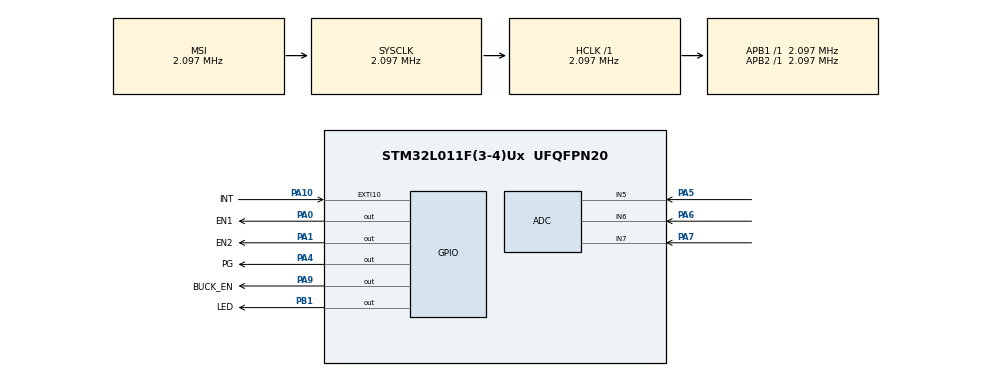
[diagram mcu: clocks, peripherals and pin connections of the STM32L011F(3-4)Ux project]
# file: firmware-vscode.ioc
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ADC.ClockPrescaler=ADC_CLOCK_SYNC_PCLK_DIV1
ADC.ContinuousConvMode=ENABLE
ADC.SamplingTime=ADC_SAMPLETIME_160CYCLES_5
Mcu.Family=STM32L0
Mcu.Name=STM32L011F(3-4)Ux
Mcu.Package=UFQFPN20
NVIC.EXTI4_15_IRQn=true\:0\:0\:false\:false\:true\:true\:true\:true
PA0-CK_IN.GPIO_Label=EN1
PA0-CK_IN.Signal=GPIO_Output
PA1.GPIO_Label=EN2
PA1.Signal=GPIO_Output
PA10.GPIO_Label=INT
PA10.Signal=GPXTI10
PA4.GPIO_Label=PG
PA4.Signal=GPIO_Output
PA5.Mode=IN5
PA5.Signal=ADC_IN5
PA6.Mode=IN6
PA6.Signal=ADC_IN6
PA7.Mode=IN7
PA7.Signal=ADC_IN7
PA9.GPIO_Label=BUCK_EN
PA9.Signal=GPIO_Output
PB1.GPIO_Label=LED
PB1.Signal=GPIO_Output
ProjectManager.HeapSize=0x200
ProjectManager.StackSize=0x400
ProjectManager.TargetToolchain=Makefile
RCC.AHBFreq_Value=2097000
RCC.APB1Freq_Value=2097000
RCC.APB1TimFreq_Value=2097000
RCC.APB2Freq_Value=2097000
RCC.APB2TimFreq_Value=2097000
RCC.HSE_VALUE=8000000
RCC.HSI16_VALUE=16000000
RCC.HSI_VALUE=16000000
RCC.LSE_VALUE=32768
RCC.MSI_VALUE=2097000
RCC.SYSCLKFreq_VALUE=2097000
RCC.VCOOutputFreq_Value=48000000
VP_ADC_Vref_Input.Mode=IN-Vrefint
board=custom

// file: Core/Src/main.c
/* USER CODE BEGIN Header */
/**
  ******************************************************************************
  * @file           : main.c
  * @brief          : Main program body
  ******************************************************************************
  * @attention
  *
  * Copyright (c) 2023 STMicroelectronics.
  * All rights reserved.
  *
  * This software is licensed under terms that can be found in the LICENSE file
  * in the root directory of this software component.
  * If no LICENSE file comes with this software, it is provided AS-IS.
  *
  ******************************************************************************
  */
/* USER CODE END Header */
#include "main.h"

/* USER CODE BEGIN PD */

#define VREFINT_CAL_ADDR          ((uint16_t*) ((uint32_t) 0x1FF80078))
#define MIN_VOLTAGE               5000
#define MAX_VOLTAGE               22000
#define MIN_CURRENT               200
#define SLEEP_VOLTAGE             1000
#define CHARGE_VOLTAGE_THESHOLD   2600

/* USER CODE END PD */

ADC_HandleTypeDef hadc;

void SystemClock_Config(void);
static void MX_GPIO_Init(void);
static void MX_ADC_Init(void);
/* USER CODE BEGIN PFP */

// *** Load switch functions *** //
void load_switch_enable(void);
void load_switch_disable(void);

// *** Blocking led functions ***//
void led_blink(uint16_t time_delay_1, uint16_t time_delay_2);

// *** SAFELY ENABLE/DISABLE BUCK CONVERTER *** //
void Enable_buck_converter(void);
void Disable_buck_converter(void);

/* USER CODE END PFP */

/* USER CODE BEGIN 0 */

  uint16_t ADC_CH5, ADC_CH6, ADC_CH7, ADC_REF;
  uint16_t supply_voltage_mv = 0;
  uint16_t input_voltage_mv = 0;
  uint16_t buck_output_voltage_mv = 0;
  uint16_t buck_current_ma = 0;
  uint8_t previous_state = 0;
  uint16_t timer_check = 0;

  // State machine
  typedef enum {INIT, START_CHARGING, CHARGING, STOP_CHARGING, OVER_VOLTAGE, SLEEP} State_type;
  State_type current_state = INIT;

/* USER CODE END 0 */

int main(void)
{

  /* MCU Configuration--------------------------------------------------------*/

  /* Reset of all peripherals, Initializes the Flash interface and the Systick. */
  HAL_Init();

  /* USER CODE BEGIN Init */
  // reference = VREFINT_CAL_ADDR;

  /* USER CODE END Init */

  /* Configure the system clock */
  SystemClock_Config();

  /* Initialize all configured peripherals */
  MX_GPIO_Init();
  MX_ADC_Init();
  /* USER CODE BEGIN 2 */

  HAL_ADCEx_Calibration_Start(&hadc, ADC_SINGLE_ENDED);

  /* USER CODE END 2 */

  /* Infinite loop */
  while (1)
  {

    /* USER CODE BEGIN 3 */

    // Start ADC Conversion and read two ADC values
		HAL_ADC_Start(&hadc);

    // ADC_CHANNEL_5 & Read The ADC Conversion Result
    HAL_ADC_PollForConversion(&hadc, 100);
		ADC_CH5 = HAL_ADC_GetValue(&hadc);

    // ADC_CHANNEL_6 & Read The ADC Conversion Result
    HAL_ADC_PollForConversion(&hadc, 100);
		ADC_CH6 = HAL_ADC_GetValue(&hadc);

    // ADC_CHANNEL_7 & Read The ADC Conversion Result
    HAL_ADC_PollForConversion(&hadc, 100);
		ADC_CH7 = HAL_ADC_GetValue(&hadc);

    // ADC_CHANNEL_VREFINT & Read The ADC Conversion Result
    HAL_ADC_PollForConversion(&hadc, 100);
		ADC_REF = HAL_ADC_GetValue(&hadc);

    // Stop ADC Conversion
    HAL_ADC_Stop(&hadc);

    // Calculate supply voltage MCU
    supply_voltage_mv = 1200*4096/ADC_REF;

    // Calculate input voltage BUCK converter
    input_voltage_mv = ADC_CH5*supply_voltage_mv/4096*224700/4700;

    // Calculate buck converter output voltage
    buck_output_voltage_mv = ADC_CH7*supply_voltage_mv/4096*71000/15000;

    // Calculate buck converter output current
    buck_current_ma = ADC_CH6*supply_voltage_mv/4096*1000/780;

    if(input_voltage_mv > MAX_VOLTAGE){
      current_state = OVER_VOLTAGE;
    }

    ///////////////////////////
    // *** State machine *** //
    ///////////////////////////

    switch (current_state){
      case INIT:
        // No charging may occur in the INIT phase
        Disable_buck_converter();

        // Check input voltage before start charging
        if(input_voltage_mv < MAX_VOLTAGE && input_voltage_mv > MIN_VOLTAGE){
          current_state = START_CHARGING;
        }

        // Check input voltage in not below minimum voltage
        if(input_voltage_mv < SLEEP_VOLTAGE){
          current_state = SLEEP;
        }

        // Blink led
        led_blink(500, 500);
      break;
      case START_CHARGING:
        // Enable buck conveter safely
        Enable_buck_converter();

        // Change state
        current_state = CHARGING;
      break;
      case CHARGING:
        led_blink(900, 100);

        // If under voltage occur, wait for enough voltage to resume
        if(input_voltage_mv < MIN_VOLTAGE){
          current_state = INIT;
        }

        // Check for current lower then MIN_CURRENT after 10 sec
        if(buck_current_ma < MIN_CURRENT && timer_check > 10 && supply_voltage_mv > CHARGE_VOLTAGE_THESHOLD){
          timer_check = 0;
          current_state = STOP_CHARGING;
        }

        timer_check++;

      break;
      case STOP_CHARGING:
        // Disable buck conveter safely
        Disable_buck_converter();

        if(buck_current_ma < MIN_CURRENT){
          current_state = SLEEP;
        }
        else{
          current_state = INIT;
        }
      break;
      case OVER_VOLTAGE:
        led_blink(100, 100);

        // Disable buck conveter safely
        Disable_buck_converter();

        // Check for save voltage
        if(input_voltage_mv < MAX_VOLTAGE){
          current_state = INIT;
        }
      break;
      case SLEEP:

        // Disable LED
        HAL_GPIO_WritePin(LED_GPIO_Port, LED_Pin, GPIO_PIN_RESET);

        // Check if input voltage is above 2 V and enable timer interrupt

        // Reconfigure GPIO pins for sleep mode: EN1_Pin EN2_Pin PG_Pin BUCK_EN_Pin
        // GPIO_InitTypeDef GPIO_InitStruct;
        // GPIO_InitStruct.Pin = EN1_Pin|EN2_Pin|PG_Pin|BUCK_EN_Pin;
        // GPIO_InitStruct.Mode = GPIO_MODE_ANALOG;
        // GPIO_InitStruct.Pull = GPIO_NOPULL;
        // HAL_GPIO_Init(GPIOA, &GPIO_InitStruct);

        // Disable the systick interrupt
        HAL_SuspendTick();

        // Enter Stop Mode
        HAL_PWR_EnterSTOPMode(PWR_LOWPOWERREGULATOR_ON, PWR_STOPENTRY_WFI);

        // Change state
        current_state = INIT;

      break;
      default:
      current_state = INIT;
      break;
    }

  }
  /* USER CODE END 3 */
}

void SystemClock_Config(void)
{
  RCC_OscInitTypeDef RCC_OscInitStruct = {0};
  RCC_ClkInitTypeDef RCC_ClkInitStruct = {0};

  /** Configure the main internal regulator output voltage
  */
  __HAL_PWR_VOLTAGESCALING_CONFIG(PWR_REGULATOR_VOLTAGE_SCALE1);

  /** Initializes the RCC Oscillators according to the specified parameters
  * in the RCC_OscInitTypeDef structure.
  */
  RCC_OscInitStruct.OscillatorType = RCC_OSCILLATORTYPE_MSI;
  RCC_OscInitStruct.MSIState = RCC_MSI_ON;
  RCC_OscInitStruct.MSICalibrationValue = 0;
  RCC_OscInitStruct.MSIClockRange = RCC_MSIRANGE_5;
  RCC_OscInitStruct.PLL.PLLState = RCC_PLL_NONE;
  if (HAL_RCC_OscConfig(&RCC_OscInitStruct) != HAL_OK)
  {
    Error_Handler();
  }

  /** Initializes the CPU, AHB and APB buses clocks
  */
  RCC_ClkInitStruct.ClockType = RCC_CLOCKTYPE_HCLK|RCC_CLOCKTYPE_SYSCLK
                              |RCC_CLOCKTYPE_PCLK1|RCC_CLOCKTYPE_PCLK2;
  RCC_ClkInitStruct.SYSCLKSource = RCC_SYSCLKSOURCE_MSI;
  RCC_ClkInitStruct.AHBCLKDivider = RCC_SYSCLK_DIV1;
  RCC_ClkInitStruct.APB1CLKDivider = RCC_HCLK_DIV1;
  RCC_ClkInitStruct.APB2CLKDivider = RCC_HCLK_DIV1;

  if (HAL_RCC_ClockConfig(&RCC_ClkInitStruct, FLASH_LATENCY_0) != HAL_OK)
  {
    Error_Handler();
  }
}

static void MX_ADC_Init(void)
{

  ADC_ChannelConfTypeDef sConfig = {0};

  /** Configure the global features of the ADC (Clock, Resolution, Data Alignment and number of conversion)
  */
  hadc.Instance = ADC1;
  hadc.Init.OversamplingMode = DISABLE;
  hadc.Init.ClockPrescaler = ADC_CLOCK_SYNC_PCLK_DIV1;
  hadc.Init.Resolution = ADC_RESOLUTION_12B;
  hadc.Init.SamplingTime = ADC_SAMPLETIME_160CYCLES_5;
  hadc.Init.ScanConvMode = ADC_SCAN_DIRECTION_FORWARD;
  hadc.Init.DataAlign = ADC_DATAALIGN_RIGHT;
  hadc.Init.ContinuousConvMode = ENABLE;
  hadc.Init.DiscontinuousConvMode = DISABLE;
  hadc.Init.ExternalTrigConvEdge = ADC_EXTERNALTRIGCONVEDGE_NONE;
  hadc.Init.ExternalTrigConv = ADC_SOFTWARE_START;
  hadc.Init.DMAContinuousRequests = DISABLE;
  hadc.Init.EOCSelection = ADC_EOC_SINGLE_CONV;
  hadc.Init.Overrun = ADC_OVR_DATA_PRESERVED;
  hadc.Init.LowPowerAutoWait = DISABLE;
  hadc.Init.LowPowerFrequencyMode = ENABLE;
  hadc.Init.LowPowerAutoPowerOff = DISABLE;
  if (HAL_ADC_Init(&hadc) != HAL_OK)
  {
    Error_Handler();
  }

  /** Configure for the selected ADC regular channel to be converted.
  */
  sConfig.Channel = ADC_CHANNEL_5;
  sConfig.Rank = ADC_RANK_CHANNEL_NUMBER;
  if (HAL_ADC_ConfigChannel(&hadc, &sConfig) != HAL_OK)
  {
    Error_Handler();
  }

  /** Configure for the selected ADC regular channel to be converted.
  */
  sConfig.Channel = ADC_CHANNEL_6;
  if (HAL_ADC_ConfigChannel(&hadc, &sConfig) != HAL_OK)
  {
    Error_Handler();
  }

  /** Configure for the selected ADC regular channel to be converted.
  */
  sConfig.Channel = ADC_CHANNEL_7;
  if (HAL_ADC_ConfigChannel(&hadc, &sConfig) != HAL_OK)
  {
    Error_Handler();
  }

  /** Configure for the selected ADC regular channel to be converted.
  */
  sConfig.Channel = ADC_CHANNEL_VREFINT;
  if (HAL_ADC_ConfigChannel(&hadc, &sConfig) != HAL_OK)
  {
    Error_Handler();
  }
  /* USER CODE BEGIN ADC_Init 2 */

  // *** DO not ferget to add "sConfig.Rank = ADC_RANK_CHANNEL_NUMBER;" if regenerating HAL drivers with STM32cubeMX !!! ***

  /* USER CODE END ADC_Init 2 */

}

static void MX_GPIO_Init(void)
{
  GPIO_InitTypeDef GPIO_InitStruct = {0};

  /* GPIO Ports Clock Enable */
  __HAL_RCC_GPIOA_CLK_ENABLE();
  __HAL_RCC_GPIOB_CLK_ENABLE();

  /*Configure GPIO pin Output Level */
  HAL_GPIO_WritePin(GPIOA, EN1_Pin|EN2_Pin|PG_Pin|BUCK_EN_Pin, GPIO_PIN_RESET);

  /*Configure GPIO pin Output Level */
  HAL_GPIO_WritePin(LED_GPIO_Port, LED_Pin, GPIO_PIN_RESET);

  /*Configure GPIO pins : EN1_Pin EN2_Pin PG_Pin BUCK_EN_Pin */
  GPIO_InitStruct.Pin = EN1_Pin|EN2_Pin|PG_Pin|BUCK_EN_Pin;
  GPIO_InitStruct.Mode = GPIO_MODE_OUTPUT_PP;
  GPIO_InitStruct.Pull = GPIO_NOPULL;
  GPIO_InitStruct.Speed = GPIO_SPEED_FREQ_LOW;
  HAL_GPIO_Init(GPIOA, &GPIO_InitStruct);

  /*Configure GPIO pin : LED_Pin */
  GPIO_InitStruct.Pin = LED_Pin;
  GPIO_InitStruct.Mode = GPIO_MODE_OUTPUT_PP;
  GPIO_InitStruct.Pull = GPIO_NOPULL;
  GPIO_InitStruct.Speed = GPIO_SPEED_FREQ_LOW;
  HAL_GPIO_Init(LED_GPIO_Port, &GPIO_InitStruct);

  /*Configure GPIO pin : INT_Pin */
  GPIO_InitStruct.Pin = INT_Pin;
  GPIO_InitStruct.Mode = GPIO_MODE_IT_RISING;
  GPIO_InitStruct.Pull = GPIO_NOPULL;
  HAL_GPIO_Init(INT_GPIO_Port, &GPIO_InitStruct);

  /* EXTI interrupt init*/
  HAL_NVIC_SetPriority(EXTI4_15_IRQn, 0, 0);
  HAL_NVIC_EnableIRQ(EXTI4_15_IRQn);

}

/* USER CODE BEGIN 4 */

// *** Load Switch functions *** //
// Enable load switch 1 and 2
void load_switch_enable(void){
  HAL_GPIO_WritePin(EN1_GPIO_Port, EN1_Pin, GPIO_PIN_SET);
  HAL_GPIO_WritePin(EN2_GPIO_Port, EN2_Pin, GPIO_PIN_SET);
}

// Disable load switch 1 and 2
void load_switch_disable(void){
  HAL_GPIO_WritePin(EN1_GPIO_Port, EN1_Pin, GPIO_PIN_RESET);
  HAL_GPIO_WritePin(EN2_GPIO_Port, EN2_Pin, GPIO_PIN_RESET);
}

void led_blink(uint16_t time_delay_1, uint16_t time_delay_2){
  HAL_GPIO_WritePin(LED_GPIO_Port, LED_Pin, GPIO_PIN_RESET);
  HAL_Delay(time_delay_1);
  HAL_GPIO_WritePin(LED_GPIO_Port, LED_Pin, GPIO_PIN_SET);
  HAL_Delay(time_delay_2);
}

// *** WAKE UP *** //
void HAL_GPIO_EXTI_Callback(uint16_t GPIO_Pin)
{
  //if(GPIO_Pin == INT_Pin)
  //{
	  SystemClock_Config();
	  HAL_ResumeTick();
  //}
}

// *** SAFELY ENABLE/DISABLE BUCK CONVERTER *** //
void Enable_buck_converter(void){
  // Enable load switches
  load_switch_enable();

  HAL_Delay(100);

  // Enable CC/CV buck converter
  HAL_GPIO_WritePin(BUCK_EN_GPIO_Port, BUCK_EN_Pin, GPIO_PIN_SET);

  // HAL_Delay(1000);

  // Connect input voltage to buck converter
  HAL_GPIO_WritePin(PG_GPIO_Port, PG_Pin, GPIO_PIN_SET);
}

void Disable_buck_converter(void){
    // Disable CC/CV buck converter
  HAL_GPIO_WritePin(BUCK_EN_GPIO_Port, BUCK_EN_Pin, GPIO_PIN_RESET);

  // Disconnect input voltage from buck converter
  HAL_GPIO_WritePin(PG_GPIO_Port, PG_Pin, GPIO_PIN_RESET);

  // Disable load switches
  load_switch_disable();
}

/* USER CODE END 4 */

void Error_Handler(void)
{
  __disable_irq();
  while (1)
  {
  }
}
